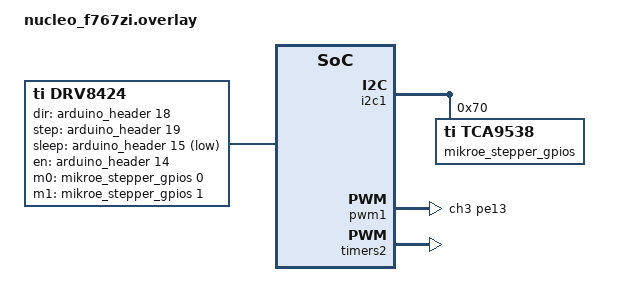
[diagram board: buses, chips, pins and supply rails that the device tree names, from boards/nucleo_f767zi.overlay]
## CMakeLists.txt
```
# Copyright (c) 2024 Navimatix GmbH
# SPDX-License-Identifier: Apache-2.0

cmake_minimum_required(VERSION 3.20.0)
find_package(Zephyr REQUIRED HINTS $ENV{ZEPHYR_BASE})
project(stepper_api)

target_sources(app PRIVATE src/main.c)
```

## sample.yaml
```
sample:
  name: Stepper API Sample
tests:
  sample.drivers.stepper.stepper_api:
    tags:
      - stepper
      - motor
    depends_on: stepper
    integration_platforms:
      - nucleo_f767zi
      - rpi_pico
      - mimxrt1060_evkb
```

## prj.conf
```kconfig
CONFIG_STEPPER=y
CONFIG_LOG=y
CONFIG_POLL=y
```

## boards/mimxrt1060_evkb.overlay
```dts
/*
 * SPDX-FileCopyrightText: Copyright (c) 2024 Navimatix GmbH
 * SPDX-License-Identifier: Apache-2.0
 */

#include <zephyr/dt-bindings/gpio/gpio.h>


/ {
	aliases {
		stepper0 = &motor_1;
	};
};

/ {
	stepper_motor: stepper_motor {
		compatible = "zephyr,gpio-steppers";
		status = "okay";
		motor_1: motor_1 {
			micro-step-res = <1>;
			gpios = <&arduino_header 12 GPIO_ACTIVE_HIGH>,	/* D6 */
				<&arduino_header 13 GPIO_ACTIVE_HIGH>,	/* D7 */
				<&arduino_header 14 GPIO_ACTIVE_HIGH>,	/* D8 */
				<&arduino_header 15 GPIO_ACTIVE_HIGH>;	/* D9 */
		};
	};
};
```

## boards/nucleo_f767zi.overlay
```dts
/*
 * Copyright (c) 2024 Navimatix GmbH
 * SPDX-License-Identifier: Apache-2.0
 */

//#include <zephyr/dt-bindings/stepper/stepper.h>
#include <zephyr/dt-bindings/gpio/gpio.h>


/ {
	aliases {
		stepper0 = &drv8424;
	};
};


/// {
//	zephyr,user {
//		steppers = <&drv8424 0>;
//	};
//};

&i2c1 {
        status = "okay";

        mikroe_stepper_gpios: mikroe_stepper_ctrl_tca9538a@70 {
                status = "okay";
                compatible = "ti,tca9538";

                reg = < 0x70 >;

                gpio-controller;
                ngpios = < 8 >;
                #gpio-cells = < 2 >;

                gpio-reserved-ranges = < 7 1 >;

                gpio-line-names =
			"M0",
			"M1",
			"DEC0",
			"DEC1",
			"TOFF",
			"STP",
			"DIR";
        };
};

/ {

        drv8424: drv8424 {
                status = "okay";
                compatible = "ti,drv8424";


                dir-gpios = < &arduino_header 18 0 >; /* D12 */
		step-gpios = < &arduino_header 19 0 >; /* D13 */
                sleep-gpios = < &arduino_header 15 GPIO_ACTIVE_LOW >; /* D9 */
                en-gpios  = < &arduino_header 14 0 >; /* D8 */
                m0-gpios = < &mikroe_stepper_gpios 0 0 >;
                m1-gpios = < &mikroe_stepper_gpios 1 0 >;
		counter = < &counter2 >;

		#stepper-cells = <0>;

	};
};

&pwm1 {
	pinctrl-0 = < &tim1_ch3_pe13 >;
};

&timers2 {
	status = "okay";
	pwm2: pwm {
		status = "disabled";
		pinctrl-0 = < &tim2_ch1_pa5 >;
		pinctrl-names = "default";
	};
	counter2: counter {
                status = "okay";
        };
};
```

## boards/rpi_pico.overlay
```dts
/*
 * SPDX-FileCopyrightText: Copyright (c) 2024 Navimatix GmbH
 * SPDX-License-Identifier: Apache-2.0
 */

#include <zephyr/dt-bindings/gpio/gpio.h>


/ {
	aliases {
		stepper0 = &motor_1;
	};
};

/ {
	stepper_motor: stepper_motor {
		compatible = "zephyr,gpio-steppers";
		status = "okay";
		motor_1: motor_1 {
			micro-step-res = <1>;
			gpios = <&gpio0 12 GPIO_ACTIVE_HIGH>,
				<&gpio0 13 GPIO_ACTIVE_HIGH>,
				<&gpio0 14 GPIO_ACTIVE_HIGH>,
				<&gpio0 15 GPIO_ACTIVE_HIGH>;
		};
	};
};
```

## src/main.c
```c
/*
 * Copyright (c) 2024 Navimatix GmbH
 *
 * SPDX-License-Identifier: Apache-2.0
 */

#include "zephyr/device.h"
#include "zephyr/sys/printk.h"
#include <stdbool.h>
#include <stdint.h>
#include <zephyr/kernel.h>
#include <zephyr/drivers/gpio.h>
#include <zephyr/drivers/stepper.h>

/* Time to run the stepper driver in constant velocity mode, 2000 msec = 2 sec */
#define SLEEP_TIME_MS 2000

/* The devicetree node identifier for the "stepper0" alias. */
#define STEPPER_NODE DT_ALIAS(stepper0)

/* Devicepointer for the stepper driver*/
static const struct device *stepper = DEVICE_DT_GET(STEPPER_NODE);

int MICROSTEPS[] = {STEPPER_MICRO_STEP_1,  STEPPER_MICRO_STEP_2,   STEPPER_MICRO_STEP_4,
		    STEPPER_MICRO_STEP_8,  STEPPER_MICRO_STEP_16,  STEPPER_MICRO_STEP_32,
		    STEPPER_MICRO_STEP_64, STEPPER_MICRO_STEP_128, STEPPER_MICRO_STEP_256};

struct k_poll_signal stepper_signal;
struct k_poll_event stepper_event;

static void stepper_print_event_callback(const struct device *dev, enum stepper_event event,
					 void *user_data)
{
	/* Signal the rest of the sample that movement is finished */
	k_poll_signal_raise(&stepper_signal, STEPPER_EVENT_STEPS_COMPLETED);
}

int main(void)
{
	int ret;
	/* The sample targets a speed of 200 full steps per second. This value will later be
	 * converted into the correct number of microsteps per second. */
	int speed = 200;
	int base_speed = 200;
	/* The sample targets a movement distance of 200 full steps for the movecommand or the
	 * set_target_position command if the previous 2 movement commands were not supported. This
	 * value is also converted to the correct number of microsteps later on. */
	int step_count = 200;
	int base_step_count = 200;

	/* Enable stepper driver */
	ret = stepper_enable(stepper, true);
	if (ret != 0) {
		printk("Could not enable stepper driver (Error Code: %d)\n", ret);
		return ret;
	}

	/* Initialize polling, it is later used to determine when a stepper movement is finished. */
	k_poll_signal_init(&stepper_signal);
	k_poll_event_init(&stepper_event, K_POLL_TYPE_SIGNAL, K_POLL_MODE_NOTIFY_ONLY,
			  &stepper_signal);

	/* Set the microstep resolution to the highest possibe value supported by the driver. Error
	 * messages during this process are to be expected. */
	int resolution = 0;
	printk("Attempting to set microstep resolution to highest possible value.\nError messages "
	       "from the driver concerning unsopported microstep resolutions are to be "
	       "expected.\n");
	for (int i = 0; i < 9; i++) {
		ret = stepper_set_micro_step_res(stepper, MICROSTEPS[i]);
		if (ret == 0) {
			speed = base_speed * MICROSTEPS[i];
			step_count = base_step_count * MICROSTEPS[i];
			resolution = MICROSTEPS[i];
		}
	}
	if (resolution != 0) {
		printk("Set microstep resolution to %d\n\n", resolution);
	} else {
		printk("Could not set any valid microstep resolution\n");
		return -EINVAL;
	}

	/* Set stepper callback that is triggered whenever an event with the stepper motor occurs.
	 * In this sample the completion event is always assumed to have triggered. */
	ret = stepper_set_callback(stepper, stepper_print_event_callback, NULL);

	/* Set the maximum speed that is used by the move mode to 200 steps per second, converted to
	 * microsteps per second */
	ret = stepper_set_max_velocity(stepper, speed);
	if (ret != 0) {
		printk("Could not set max velocity (Error Code: %d)\n", ret);
	}

	/* Consecutively attempt to execute three differend commands to move the stepper motor:
	 * - enable_constant_velocity_mode, which simply runs the motor at the given speed
	 * - move, which moves the motor for x (micro) steps
	 * - set_target_position, which moves the motor to the given position in (micro) steps
	 * As stepper drivers are not required to support all three commands, the sample will skip
	 * unavailable ones.*/

	/* Move stepper in constant velocity mode with a speed of 200 fullsteps per second,
	 * converted into microsteps per second, for 2 seconds. The movement direction is positive.
	 */
	printk("Constant velocity mode positive direction for %d milliseconds\n", SLEEP_TIME_MS);
	ret = stepper_enable_constant_velocity_mode(stepper, STEPPER_DIRECTION_POSITIVE, speed);
	if (ret != 0) {
		printk("Skipped constant velocity mode as it is not supported by the driver.\n");
	} else {
		k_msleep(SLEEP_TIME_MS);
		stepper_enable_constant_velocity_mode(stepper, STEPPER_DIRECTION_POSITIVE, 0);
	}
	k_msleep(200);

	/* Move stepper for 200 full steps, converted to microsteps, at a speed of 200
	 * fullsteps per second in opposite (negative) direction to the previous command.
	 */
	printk("Move in negative direction for %d (micro) steps\n", step_count);
	ret = stepper_move(stepper, -step_count);
	if (ret != 0) {
		printk("Skipped move as it is not supported by the driver.\n");
		k_poll_signal_raise(&stepper_signal, STEPPER_EVENT_STEPS_COMPLETED);
	}
	/* Wait for movement to finish */
	(void)k_poll(&stepper_event, 1, K_SECONDS(5));
	k_poll_signal_reset(&stepper_signal);

	k_msleep(200);

	/* Move to target position 0 i.e. starting position. If the the motor is allready at this
	 * position, because the two previous commands were not supported, move instead to the
	 * position 200, converted from fullsteps to microsteps. */
	int target = 0;
	int position = 0;
	stepper_get_actual_position(stepper, &position);
	if (position == 0) {
		target = step_count;
	}
	printk("Move to position (in (micro) steps) %d\n", target);
	ret = stepper_set_target_position(stepper, target);
	if (ret != 0) {
		printk("Skipped set target position as it is not supported by the driver.\n");
		k_poll_signal_raise(&stepper_signal, STEPPER_EVENT_STEPS_COMPLETED);
	}
	/* Wait for movement to finish */
	(void)k_poll(&stepper_event, 1, K_SECONDS(5));
	k_poll_signal_reset(&stepper_signal);

	k_msleep(2000);

	return 0;
}
```
